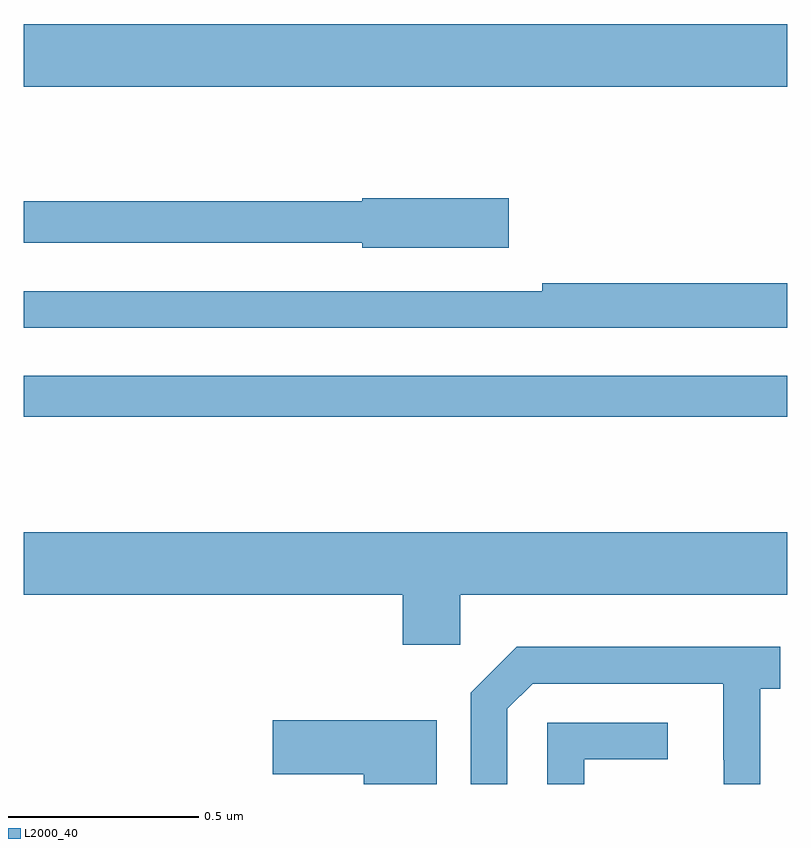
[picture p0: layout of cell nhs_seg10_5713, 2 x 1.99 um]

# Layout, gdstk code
import gdstk
lib = gdstk.Library(unit=1e-6, precision=1e-09)
def R(c, l, rs):  # rectangles x0, y0, x1, y1
    for r in rs: c.add(gdstk.rectangle(r[:2], r[2:], *l))
def P(c, l, *ps):  # polygons
    for p in ps: c.add(gdstk.Polygon(p, *l))
L2000_40 = (2000, 40)

nhs_seg10_5713 = lib.new_cell('nhs_seg10_5713')
R(nhs_seg10_5713, L2000_40, [(182,1287.462,184,1287.57), (182,1288.328,184,1288.492)])
P(nhs_seg10_5713, L2000_40, [(183.271,1288.035),(182.886,1288.035),(182.886,1288.027),(182,1288.027),(182,1287.918),(182.886,1287.918),(182.886,1287.905),(183.271,1287.905)],
  [(184,1287.812),(183.358,1287.812),(183.358,1287.792),(182,1287.792),(182,1287.696),(184,1287.696)],
  [(183.144,1286.996),(184,1286.996),(184,1287.16),(182,1287.16),(182,1286.996),(182.993,1286.996),(182.993,1286.865),(183.144,1286.865)],
  [(183.267,1286.697),(183.333,1286.763),(183.833,1286.763),(183.833,1286.563),(183.834,1286.563),(183.834,1286.5),(183.93,1286.5),(183.93,1286.75),(183.982,1286.75),(183.982,1286.86),(183.292,1286.86),(183.171,1286.739),(183.171,1286.5),(183.267,1286.5)],
  [(183.082,1286.667),(182.652,1286.667),(182.652,1286.525),(182.89,1286.525),(182.89,1286.5),(183.082,1286.5)],
  [(183.468,1286.565),(183.688,1286.565),(183.688,1286.661),(183.372,1286.661),(183.372,1286.5),(183.468,1286.5)])

lib.write_gds('nhs_seg10_5713.gds')
